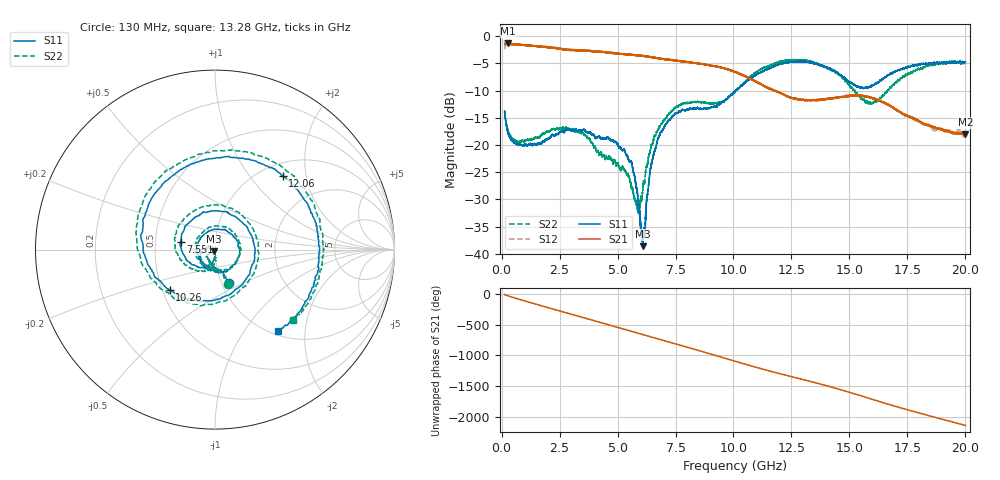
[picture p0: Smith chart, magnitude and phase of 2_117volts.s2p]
!Created with skrf (http://scikit-rf.org).
# GHz S RI R 50.0
!freq ReS11 ImS11 ReS21 ImS21 ReS12 ImS12 ReS22 ImS22
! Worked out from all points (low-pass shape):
!   20013 points, 130 MHz to 20 GHz, reference 50 ohm
!   highest |S21| = -1.34 dB at 281 MHz (marker M1); lowest = -18.1 dB at 20 GHz (marker M2)
!   |S21| within 3 dB of the highest: start of sweep to 7.143 GHz; 7.151279 GHz to 7.171911 GHz (20.63 MHz wide, 0.288 % of centre)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
!   lowest |S11| = -38.6 dB at 6.09 GHz (marker M3), VSWR 1.02, Z = 49.2 - j0.856 ohm
!   |S11| at or under -10 dB: start of sweep to 10.08 GHz; 10.08541 GHz to 10.08914 GHz (3.725 MHz wide, 0.0369 % of centre)
!   |S22| runs from -32.6 to -4.3 dB; largest |S21 - S12| = 0.086
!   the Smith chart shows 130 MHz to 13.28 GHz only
!   S11 on the Smith chart (normalised r, x): 130 MHz: 1.08, -0.42; 7.551 GHz: 0.68, +0.06; 10.26 GHz: 0.55, -0.28; 12.06 GHz: 1.23, +1.48; 13.28 GHz: 1.07, -1.44
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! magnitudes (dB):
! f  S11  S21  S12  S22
! 130 MHz  -13.9  -1.4  -1.2  -13.7
! 281 MHz  -17.9  -1.3  -1.4  -17.6
! 1.01 GHz  -19.8  -1.6  -1.7  -19.1
! 3.442 GHz  -17.3  -2.6  -2.5  -17.7
! 5.348 GHz  -21.5  -3.3  -3.3  -24.9
! 5.649 GHz  -24.2  -3.4  -3.4  -28.1
! 5.865 GHz  -29.1  -3.5  -3.5  -31.4
! 6.09 GHz  -38.6  -3.6  -3.6  -28.0
! 6.438 GHz  -24.1  -3.9  -3.8  -20.3
! 6.754 GHz  -18.7  -4.1  -4.1  -17.2
! 7.551 GHz  -14.2  -4.4  -4.5  -13.0
! 9.217 GHz  -12.9  -5.5  -5.6  -12.3
! 10.06 GHz  -10.2  -6.6  -6.5  -10.2
! 10.26 GHz  -9.4  -7.0  -6.9  -9.5
! 12.06 GHz  -5.1  -10.5  -10.5  -4.7
! 13.28 GHz  -4.9  -11.8  -11.8  -4.7
! 13.38 GHz  -4.9  -11.8  -11.7  -4.7
! 15.76 GHz  -9.5  -11.1  -11.1  -11.9
! 16.69 GHz  -7.1  -12.6  -12.6  -9.9
! 18.37 GHz  -5.1  -16.3  -16.1  -5.4
! 20 GHz  -4.8  -18.1  -18.2  -4.8
! 20 GHz  -4.7  -18.0  -18.2  -4.7
